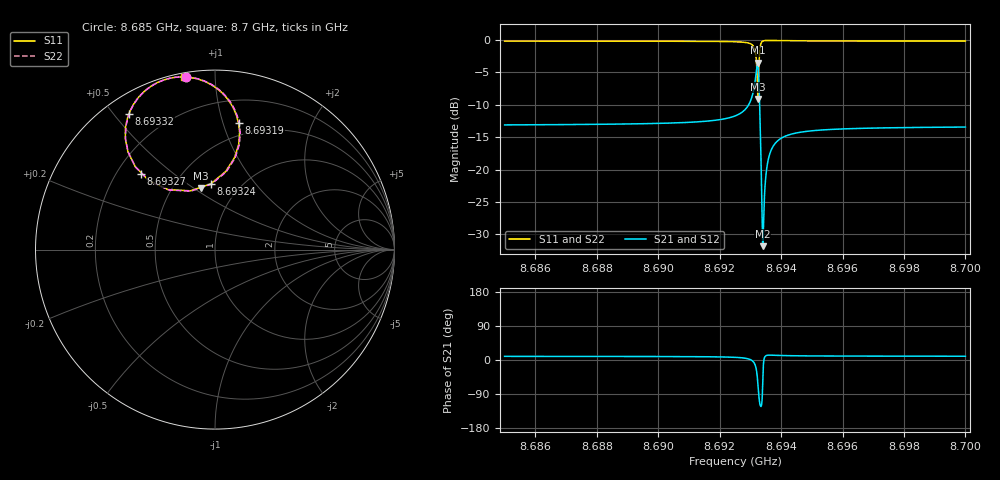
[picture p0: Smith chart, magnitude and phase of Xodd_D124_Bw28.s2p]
! Sonnet Data File
! From: emgraph Version : 16.52
! From Emgraph Data: Qubit_Xmon2_brg
! Data File Written: 10/24/2017 15:06:57
!< HDATE 10/24/2017 14:45:14
!< MDATE 10/24/2017 14:45:14
!< PARAMS
!< Lj = 11.0
!< Gap = 6.0
!< Pwid = 2000.0
!< Width = 10.0
!< Bwid = 28.0
!< Dis1 = 124.0
!< END PARAMS
# GHZ S MA R 34.70000
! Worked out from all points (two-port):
!   3001 points, 8.685 GHz to 8.7 GHz, reference 34.7 ohm
!   highest |S21| = -3.55 dB at 8.69323 GHz (marker M1); lowest = -31.8 dB at 8.69341 GHz (marker M2)
!   |S21| within 3 dB of the highest: 8.693151 GHz to 8.69328 GHz (129.3 kHz wide, 0.00149 % of centre)
!   lowest |S11| = -9.1 dB at 8.69324 GHz (marker M3), VSWR 2.08, Z = 23.8 + j18.6 ohm
!   |S11| at or under -10 dB: nowhere
!   |S22| runs from -9.2 to -0.1 dB; largest |S21 - S12| = 0
!   S11 on the Smith chart (normalised r, x): 8.685 GHz: 0.02, +0.84; 8.69319 GHz: 0.39, +1.13; 8.69324 GHz: 0.73, +0.62; 8.69327 GHz: 0.30, +0.39; 8.69332 GHz: 0.07, +0.55; 8.7 GHz: 0.02, +0.84
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8.685  0.9753 99.7  0.2208 9.6  0.2208 9.6  0.9753 99.5
!< P1 F=8.685 Eeff=(5.13559215 -5.6621e-5) Z0=(34.6542042 -9.3986e-5) R=0.0 C=0.0
!< P2 F=8.685 Eeff=(5.13559215 -5.6621e-5) Z0=(34.6542042 -9.3986e-5) R=0.0 C=0.0
8.6875  0.9749 99.6  0.2225 9.5  0.2225 9.5  0.9749 99.4
8.69  0.9739 99.3  0.2268 9.2  0.2268 9.2  0.9739 99.1
8.6925  0.9649 97.4  0.2587 7.0  0.2587 7.0  0.9649 97.2
8.692845  0.9526 95.4  0.2926 4.5  0.2926 4.5  0.9525 95.2
8.693045  0.9196 91.4  0.3587 -1.0  0.3587 -1.0  0.9196 91.2
8.693125  0.8676 87.0  0.431 -7.9  0.431 -7.9  0.8675 86.7
8.69319  0.7159 79.4  0.5583 -23.4  0.5583 -23.4  0.7155 79.1
8.693235  0.399 86.8  0.6641 -52.7  0.6641 -52.7  0.3971 86.4
8.69324  0.3672 93.7  0.664 -57.5  0.664 -57.5  0.3649 93.3
8.693245  0.3506 102.7  0.6582 -62.6  0.6582 -62.6  0.3481 102.5
8.693275  0.5883 134.3  0.5057 -93.5  0.5057 -93.5  0.587 134.3
8.693325  0.8957 122.4  0.1965 -120.7  0.1965 -120.7  0.8954 122.3
8.693365  0.9558 115.7  0.07277 -118.5  0.07277 -118.5  0.9556 115.6
8.693405  0.9756 111.9  0.0257 -50.1  0.0257 -50.1  0.9755 111.8
8.69345  0.9836 109.2  0.05608 3.7  0.05608 3.7  0.9835 109.1
8.69352  0.987 106.8  0.09663 11.8  0.09663 11.8  0.987 106.7
8.693585  0.9874 105.5  0.12 12.8  0.12 12.8  0.9873 105.3
8.693775  0.9856 103.4  0.1555 12.5  0.1555 12.5  0.9856 103.2
8.695  0.9798 100.9  0.1989 10.7  0.1989 10.7  0.9798 100.7
8.6975  0.9777 100.2  0.2097 10.1  0.2097 10.1  0.9777 100.0
8.7  0.9771 100.0  0.2126 9.9  0.2126 9.9  0.9771 99.9
